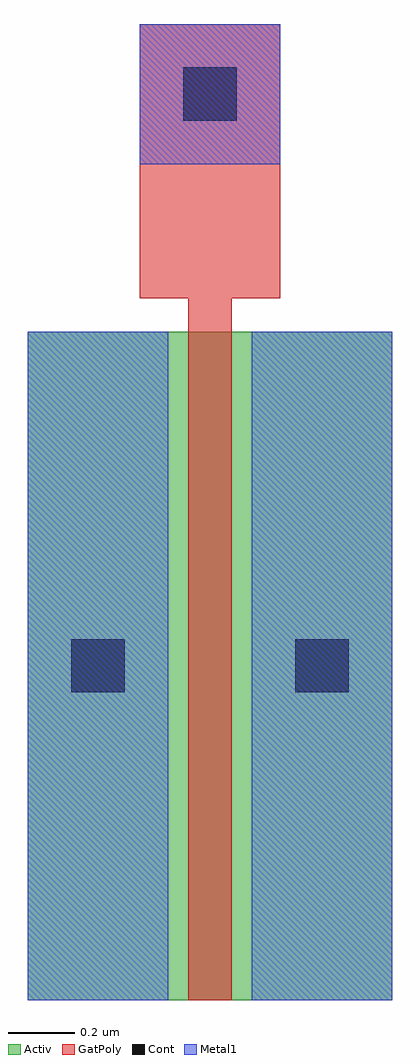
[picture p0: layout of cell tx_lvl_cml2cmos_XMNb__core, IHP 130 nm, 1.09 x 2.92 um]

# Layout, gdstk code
import gdstk
lib = gdstk.Library(unit=1e-6, precision=1e-09)
def R(c, l, rs):  # rectangles x0, y0, x1, y1
    for r in rs: c.add(gdstk.rectangle(r[:2], r[2:], *l))
Activ = (1, 0)
GatPoly = (5, 0)
Cont = (6, 0)
Metal1 = (8, 0)

tx_lvl_cml2cmos_xmnb__co = lib.new_cell('tx_lvl_cml2cmos_XMNb__core')
R(tx_lvl_cml2cmos_xmnb__co, Activ, [(0,0,1.09,2)])
R(tx_lvl_cml2cmos_xmnb__co, GatPoly, [(0.48,0,0.61,2), (0.48,2,0.61,2.1), (0.335,2.1,0.755,2.92)])
R(tx_lvl_cml2cmos_xmnb__co, Cont, [(0.13,0.92,0.29,1.08), (0.8,0.92,0.96,1.08), (0.465,2.63,0.625,2.79)])
R(tx_lvl_cml2cmos_xmnb__co, Metal1, [(0,0,0.42,2), (0.67,0,1.09,2), (0.335,2.5,0.755,2.92)])

lib.write_gds('tx_lvl_cml2cmos_XMNb__core.gds')
